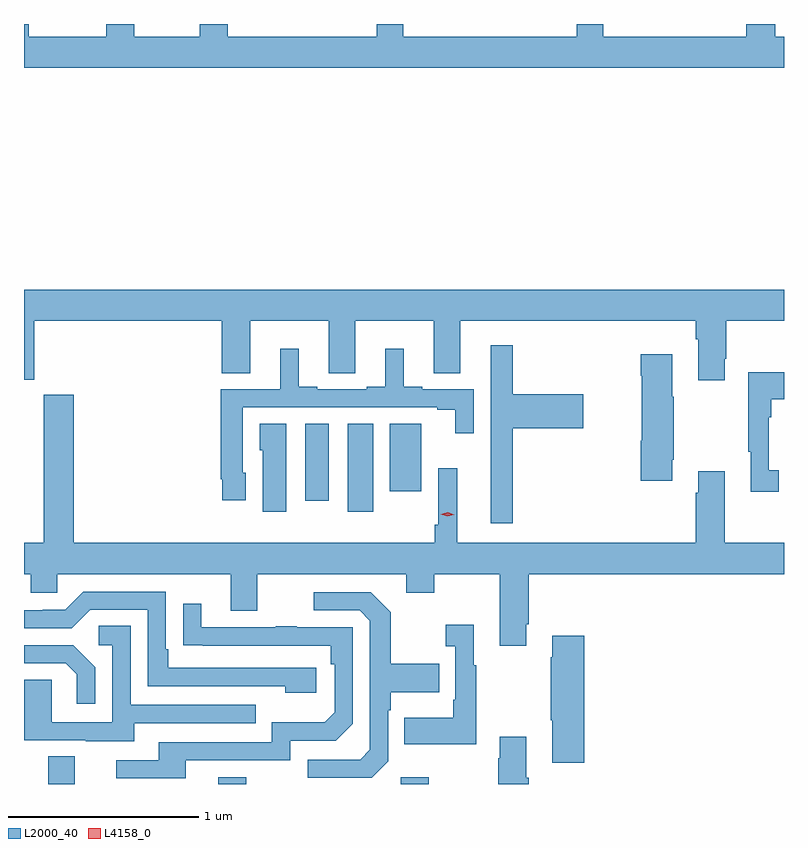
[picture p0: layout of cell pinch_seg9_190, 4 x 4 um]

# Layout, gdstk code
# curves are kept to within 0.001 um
import gdstk
lib = gdstk.Library(unit=1e-6, precision=1e-09)
def R(c, l, rs):  # rectangles x0, y0, x1, y1
    for r in rs: c.add(gdstk.rectangle(r[:2], r[2:], *l))
def P(c, l, *ps):  # polygons
    for p in ps: c.add(gdstk.Polygon(p, *l))
L2000_40 = (2000, 40)
L4158_0 = (4158, 0)

pinch_seg9_190 = lib.new_cell('pinch_seg9_190')
R(pinch_seg9_190, L2000_40, [(635.981,1213.963,636.121,1214.108), (636.875,1213.963,637.023,1213.999), (637.836,1213.963,637.983,1213.999), (637.556,1215.396,637.69,1215.86), (637.334,1215.453,637.456,1215.86), (637.778,1215.504,637.945,1215.86)])
P(pinch_seg9_190, L2000_40, [(639.853,1217.896),(639.806,1217.896),(639.806,1217.963),(639.653,1217.963),(639.653,1217.896),(638.901,1217.896),(638.901,1217.963),(638.763,1217.963),(638.763,1217.896),(637.849,1217.896),(637.849,1217.963),(637.709,1217.963),(637.709,1217.896),(636.925,1217.896),(636.925,1217.963),(636.778,1217.963),(636.778,1217.896),(636.433,1217.896),(636.433,1217.963),(636.286,1217.963),(636.286,1217.896),(635.879,1217.896),(635.879,1217.963),(635.853,1217.963),(635.853,1217.732),(639.853,1217.732)],
  [(635.853,1216.091),(635.908,1216.091),(635.908,1216.4),(636.893,1216.4),(636.893,1216.126),(637.045,1216.126),(637.045,1216.4),(637.457,1216.4),(637.457,1216.126),(637.597,1216.126),(637.597,1216.4),(638.009,1216.4),(638.009,1216.126),(638.149,1216.126),(638.149,1216.4),(639.389,1216.4),(639.389,1216.304),(639.401,1216.304),(639.401,1216.089),(639.541,1216.089),(639.541,1216.201),(639.549,1216.201),(639.549,1216.4),(639.853,1216.4),(639.853,1216.564),(635.853,1216.564)],
  [(638.426,1215.836),(638.797,1215.836),(638.797,1216.014),(638.426,1216.014),(638.426,1216.273),(638.31,1216.273),(638.31,1215.752),(638.309,1215.752),(638.309,1215.336),(638.426,1215.336)],
  [(637.021,1215.6),(637.005,1215.6),(637.005,1215.945),(638.027,1215.945),(638.027,1215.933),(638.123,1215.933),(638.123,1215.81),(638.22,1215.81),(638.22,1216.041),(637.948,1216.041),(637.948,1216.054),(637.852,1216.054),(637.852,1216.255),(637.754,1216.255),(637.754,1216.054),(637.658,1216.054),(637.658,1216.041),(637.396,1216.041),(637.396,1216.054),(637.3,1216.054),(637.3,1216.255),(637.202,1216.255),(637.202,1216.041),(636.889,1216.041),(636.889,1215.568),(636.897,1215.568),(636.897,1215.456),(637.021,1215.456)],
  [(639.265,1215.67),(639.273,1215.67),(639.273,1216.001),(639.265,1216.001),(639.265,1216.225),(639.098,1216.225),(639.098,1216.112),(639.103,1216.112),(639.103,1215.77),(639.098,1215.77),(639.098,1215.558),(639.265,1215.558)],
  [(639.826,1215.614),(639.774,1215.614),(639.774,1215.893),(639.787,1215.893),(639.787,1215.989),(639.853,1215.989),(639.853,1216.129),(639.666,1216.129),(639.666,1215.713),(639.677,1215.713),(639.677,1215.501),(639.826,1215.501)],
  [(638.497,1214.803),(638.51,1214.803),(638.51,1215.068),(639.853,1215.068),(639.853,1215.232),(639.541,1215.232),(639.541,1215.61),(639.401,1215.61),(639.401,1215.497),(639.389,1215.497),(639.389,1215.232),(638.132,1215.232),(638.132,1215.625),(638.034,1215.625),(638.034,1215.328),(638.014,1215.328),(638.014,1215.232),(636.116,1215.232),(636.116,1216.012),(635.956,1216.012),(635.956,1215.232),(635.853,1215.232),(635.853,1215.068),(635.889,1215.068),(635.889,1214.97),(636.027,1214.97),(636.027,1215.068),(636.941,1215.068),(636.941,1214.874),(637.081,1214.874),(637.081,1215.068),(637.865,1215.068),(637.865,1214.969),(638.013,1214.969),(638.013,1215.068),(638.357,1215.068),(638.357,1214.691),(638.497,1214.691)],
  [(637.234,1215.86),(637.094,1215.86),(637.094,1215.72),(637.109,1215.72),(637.109,1215.396),(637.234,1215.396)],
  [(637.39,1214.574),(636.613,1214.574),(636.613,1214.671),(636.6,1214.671),(636.6,1214.976),(636.165,1214.976),(636.069,1214.88),(635.951,1214.88),(635.951,1214.877),(635.853,1214.877),(635.853,1214.784),(636.105,1214.784),(636.201,1214.88),(636.504,1214.88),(636.504,1214.478),(637.229,1214.478),(637.229,1214.444),(637.39,1214.444)],
  [(637.77,1214.082),(637.77,1214.351),(637.783,1214.351),(637.783,1214.447),(638.039,1214.447),(638.039,1214.595),(637.783,1214.595),(637.783,1214.867),(637.677,1214.973),(637.377,1214.973),(637.377,1214.877),(637.62,1214.877),(637.674,1214.823),(637.674,1214.142),(637.623,1214.091),(637.347,1214.091),(637.347,1213.995),(637.683,1213.995)],
  [(636.703,1214.088),(637.254,1214.088),(637.254,1214.19),(637.494,1214.19),(637.584,1214.28),(637.584,1214.787),(637.289,1214.787),(637.289,1214.792),(637.177,1214.792),(637.177,1214.787),(636.787,1214.787),(636.787,1214.911),(636.691,1214.911),(636.691,1214.692),(637.468,1214.691),(637.468,1214.594),(637.488,1214.594),(637.488,1214.34),(637.435,1214.287),(637.158,1214.287),(637.158,1214.184),(636.563,1214.184),(636.563,1214.088),(636.339,1214.088),(636.339,1213.992),(636.703,1213.992)],
  [(638.233,1214.587),(638.221,1214.587),(638.221,1214.8),(638.073,1214.8),(638.073,1214.687),(638.124,1214.687),(638.124,1214.407),(638.112,1214.407),(638.112,1214.311),(637.855,1214.311),(637.855,1214.171),(638.233,1214.171)],
  [(636.433,1214.283),(637.073,1214.283),(637.073,1214.379),(636.414,1214.379),(636.414,1214.795),(636.246,1214.795),(636.246,1214.694),(636.318,1214.694),(636.318,1214.289),(636,1214.289),(636,1214.513),(635.855,1214.513),(635.855,1214.193),(636.179,1214.193),(636.179,1214.189),(636.433,1214.189)],
  [(638.801,1214.743),(638.633,1214.743),(638.633,1214.63),(638.626,1214.63),(638.626,1214.299),(638.633,1214.299),(638.633,1214.076),(638.801,1214.076)],
  [(636.228,1214.578),(636.112,1214.694),(635.853,1214.694),(635.853,1214.598),(636.074,1214.598),(636.131,1214.541),(636.131,1214.385),(636.228,1214.385)],
  [(638.51,1213.996),(638.497,1213.996),(638.497,1214.212),(638.357,1214.212),(638.357,1214.099),(638.35,1214.099),(638.35,1213.963),(638.51,1213.963)])
P(pinch_seg9_190, L4158_0, [(638.081,1215.372),(638.046,1215.383),(638.046,1215.384),(638.046,1215.384),(638.082,1215.392),(638.118,1215.381),(638.118,1215.38),(638.118,1215.38)])

lib.write_gds('pinch_seg9_190.gds')
